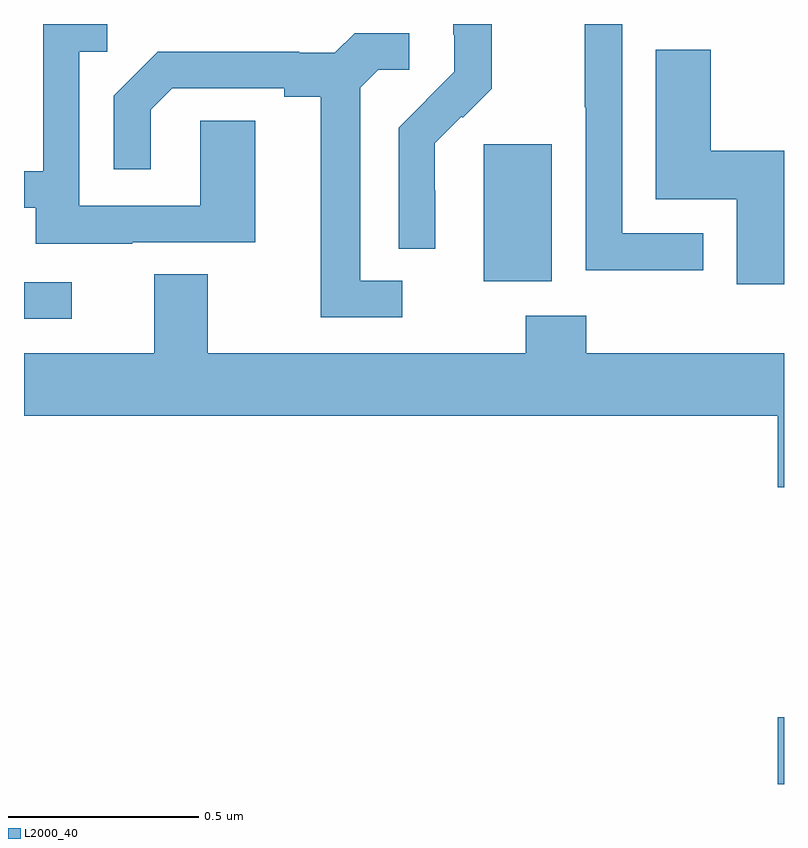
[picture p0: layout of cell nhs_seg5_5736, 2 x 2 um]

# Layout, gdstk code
import gdstk
lib = gdstk.Library(unit=1e-6, precision=1e-09)
def R(c, l, rs):  # rectangles x0, y0, x1, y1
    for r in rs: c.add(gdstk.rectangle(r[:2], r[2:], *l))
def P(c, l, *ps):  # polygons
    for p in ps: c.add(gdstk.Polygon(p, *l))
L2000_40 = (2000, 40)

nhs_seg5_5736 = lib.new_cell('nhs_seg5_5736')
R(nhs_seg5_5736, L2000_40, [(188.984,847.799,189,847.975), (187,849.024,187.126,849.12), (188.21,849.122,188.389,849.483)])
P(nhs_seg5_5736, L2000_40, [(188.082,849.362),(188.081,849.362),(188.081,849.485),(188.151,849.555),(188.154,849.552),(188.231,849.629),(188.231,849.799),(188.13,849.799),(188.13,849.771),(188.132,849.771),(188.132,849.674),(188.058,849.6),(188.059,849.599),(187.986,849.526),(187.986,849.208),(188.082,849.208)],
  [(188.788,849.249),(188.574,849.249),(188.574,849.799),(188.476,849.799),(188.476,849.58),(188.478,849.58),(188.478,849.151),(188.788,849.151)],
  [(187.285,849.225),(187.609,849.225),(187.609,849.545),(187.464,849.545),(187.464,849.321),(187.146,849.321),(187.146,849.726),(187.219,849.726),(187.219,849.799),(187.05,849.799),(187.05,849.411),(187,849.411),(187,849.315),(187.031,849.315),(187.031,849.221),(187.285,849.221)],
  [(187.996,849.123),(187.885,849.123),(187.885,849.631),(187.932,849.678),(188.014,849.678),(188.014,849.775),(187.87,849.775),(187.818,849.723),(187.724,849.723),(187.724,849.726),(187.352,849.726),(187.236,849.61),(187.236,849.417),(187.333,849.417),(187.333,849.573),(187.39,849.63),(187.685,849.63),(187.685,849.608),(187.781,849.608),(187.781,849.027),(187.996,849.027)],
  [(189,849.466),(188.807,849.466),(188.807,849.731),(188.663,849.731),(188.663,849.338),(188.876,849.338),(188.876,849.114),(189,849.114)],
  [(189,848.932),(188.48,848.932),(188.48,849.031),(188.32,849.031),(188.32,848.932),(187.483,848.932),(187.483,849.14),(187.343,849.14),(187.343,848.932),(187,848.932),(187,848.768),(188.984,848.768),(188.984,848.58),(189,848.58)])

lib.write_gds('nhs_seg5_5736.gds')
